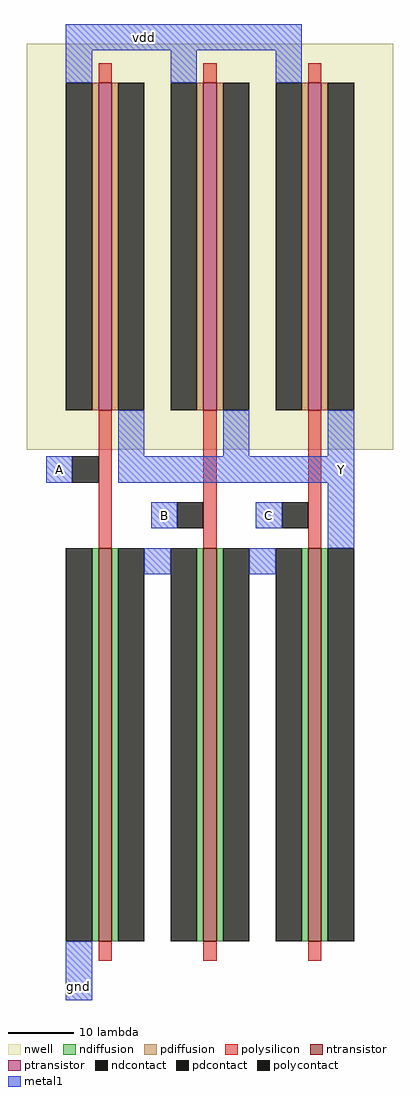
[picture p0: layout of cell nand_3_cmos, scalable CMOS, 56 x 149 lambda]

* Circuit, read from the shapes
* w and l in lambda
.subckt nand_3_cmos A B C Y gnd vdd
M1 n1 A gnd VSUBS nfet w=60 l=2
M2 n2 B n1 VSUBS nfet w=60 l=2
M3 Y C n2 VSUBS nfet w=60 l=2
M4 Y A vdd n3 pfet w=50 l=2
M5 Y B vdd n3 pfet w=50 l=2
M6 Y C vdd n3 pfet w=50 l=2
.ends

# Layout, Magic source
magic
tech scmos
<< nwell >>
rect -6 -6 50 56
<< ntransistor >>
rect 5 -81 7 -21
rect 21 -81 23 -21
rect 37 -81 39 -21
<< ptransistor >>
rect 5 0 7 50
rect 21 0 23 50
rect 37 0 39 50
<< ndiffusion >>
rect 4 -81 5 -21
rect 7 -81 8 -21
rect 20 -81 21 -21
rect 23 -81 24 -21
rect 36 -81 37 -21
rect 39 -81 40 -21
<< pdiffusion >>
rect 4 0 5 50
rect 7 0 8 50
rect 20 0 21 50
rect 23 0 24 50
rect 36 0 37 50
rect 39 0 40 50
<< ndcontact >>
rect 0 -81 4 -21
rect 8 -81 12 -21
rect 16 -81 20 -21
rect 24 -81 28 -21
rect 32 -81 36 -21
rect 40 -81 44 -21
<< pdcontact >>
rect 0 0 4 50
rect 8 0 12 50
rect 16 0 20 50
rect 24 0 28 50
rect 32 0 36 50
rect 40 0 44 50
<< polysilicon >>
rect 5 50 7 53
rect 21 50 23 53
rect 37 50 39 53
rect 5 -21 7 0
rect 21 -21 23 0
rect 37 -21 39 0
rect 5 -84 7 -81
rect 21 -84 23 -81
rect 37 -84 39 -81
<< polycontact >>
rect 1 -11 5 -7
rect 17 -18 21 -14
rect 33 -18 37 -14
<< metal1 >>
rect 0 55 36 59
rect 0 50 4 55
rect 16 50 20 55
rect 32 50 36 55
rect 8 -7 12 0
rect 24 -7 28 0
rect 40 -7 44 0
rect -3 -11 1 -7
rect 8 -11 44 -7
rect 13 -18 17 -14
rect 29 -18 33 -14
rect 40 -21 44 -11
rect 12 -25 16 -21
rect 28 -25 32 -21
rect 0 -90 4 -81
<< labels >>
rlabel metal1 10 55 14 59 5 vdd
rlabel metal1 -3 -11 1 -7 1 A
rlabel metal1 13 -18 17 -14 1 B
rlabel metal1 29 -18 33 -14 1 C
rlabel metal1 40 -11 44 -7 1 Y
rlabel metal1 0 -90 4 -86 1 gnd
<< end >>
